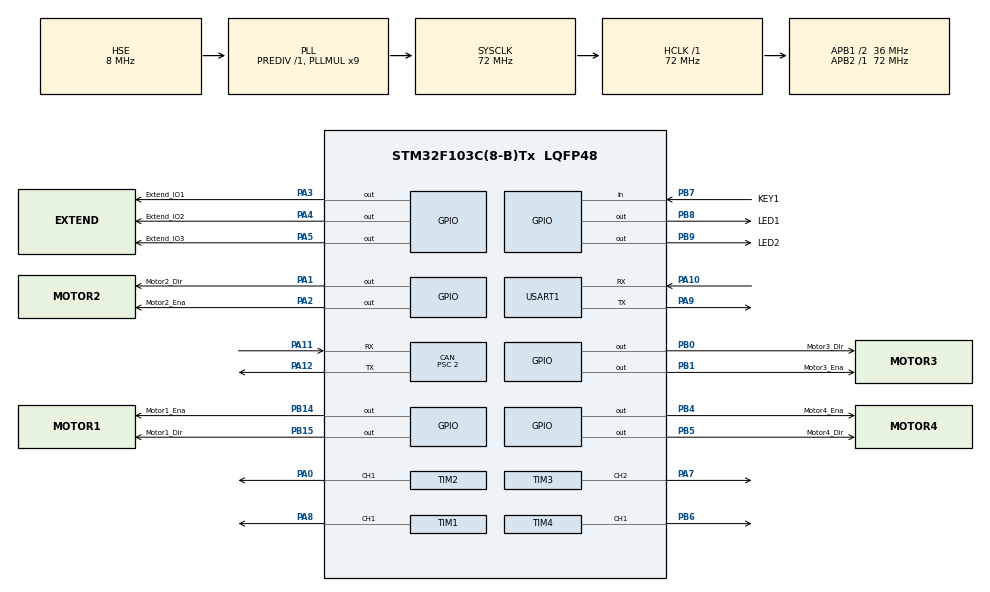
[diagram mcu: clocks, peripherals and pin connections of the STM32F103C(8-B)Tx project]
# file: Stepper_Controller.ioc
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CAN.BS1=CAN_BS1_14TQ
CAN.BS2=CAN_BS2_3TQ
CAN.CalculateBaudRate=1000000
CAN.CalculateTimeBit=1000
CAN.CalculateTimeQuantum=55.55555555555556
CAN.Mode=CAN_MODE_SILENT_LOOPBACK
CAN.Prescaler=2
Mcu.Family=STM32F1
Mcu.Name=STM32F103C(8-B)Tx
Mcu.Package=LQFP48
NVIC.CAN1_RX1_IRQn=true\:0\:0\:false\:false\:true\:true\:true\:true
NVIC.PriorityGroup=NVIC_PRIORITYGROUP_4
NVIC.TIM1_CC_IRQn=true\:0\:0\:false\:false\:true\:true\:true\:true
NVIC.TIM1_UP_IRQn=true\:0\:0\:false\:false\:true\:true\:true\:true
NVIC.TIM2_IRQn=true\:0\:0\:false\:false\:true\:true\:true\:true
NVIC.TIM3_IRQn=true\:0\:0\:false\:false\:true\:true\:true\:true
NVIC.TIM4_IRQn=true\:0\:0\:false\:false\:true\:true\:true\:true
NVIC.USB_LP_CAN1_RX0_IRQn=true\:0\:0\:false\:false\:true\:true\:true\:true
PA0-WKUP.Signal=S_TIM2_CH1_ETR
PA1.GPIO_Label=Motor2_Dir
PA1.Signal=GPIO_Output
PA10.Mode=Asynchronous
PA10.Signal=USART1_RX
PA11.Mode=CAN_Activate
PA11.Signal=CAN_RX
PA12.Mode=CAN_Activate
PA12.Signal=CAN_TX
PA13.Mode=Serial_Wire
PA13.Signal=SYS_JTMS-SWDIO
PA14.Mode=Serial_Wire
PA14.Signal=SYS_JTCK-SWCLK
PA2.GPIO_Label=Motor2_Ena
PA2.Signal=GPIO_Output
PA3.GPIO_Label=Extend_IO1
PA3.Signal=GPIO_Output
PA4.GPIO_Label=Extend_IO2
PA4.Signal=GPIO_Output
PA5.GPIO_Label=Extend_IO3
PA5.Signal=GPIO_Output
PA7.Signal=S_TIM3_CH2
PA8.Signal=S_TIM1_CH1
PA9.Mode=Asynchronous
PA9.Signal=USART1_TX
PB0.GPIO_Label=Motor3_DIr
PB0.Signal=GPIO_Output
PB1.GPIO_Label=Motor3_Ena
PB1.Signal=GPIO_Output
PB14.GPIO_Label=Motor1_Ena
PB14.Signal=GPIO_Output
PB15.GPIO_Label=Motor1_Dir
PB15.Signal=GPIO_Output
PB4.GPIO_Label=Motor4_Ena
PB4.Signal=GPIO_Output
PB5.GPIO_Label=Motor4_Dir
PB5.Signal=GPIO_Output
PB6.Signal=S_TIM4_CH1
PB7.GPIO_Label=KEY1
PB7.Signal=GPIO_Input
PB8.GPIO_Label=LED1
PB8.Signal=GPIO_Output
PB9.GPIO_Label=LED2
PB9.Signal=GPIO_Output
PD0-OSC_IN.Mode=HSE-External-Oscillator
PD0-OSC_IN.Signal=RCC_OSC_IN
PD1-OSC_OUT.Mode=HSE-External-Oscillator
PD1-OSC_OUT.Signal=RCC_OSC_OUT
ProjectManager.HeapSize=0x200
ProjectManager.StackSize=0x400
ProjectManager.TargetToolchain=CMake
RCC.AHBFreq_Value=72000000
RCC.APB1CLKDivider=RCC_HCLK_DIV2
RCC.APB1Freq_Value=36000000
RCC.APB1TimFreq_Value=72000000
RCC.APB2Freq_Value=72000000
RCC.APB2TimFreq_Value=72000000
RCC.HCLKFreq_Value=72000000
RCC.PLLMUL=RCC_PLL_MUL9
RCC.PLLSourceVirtual=RCC_PLLSOURCE_HSE
RCC.SYSCLKFreq_VALUE=72000000
RCC.SYSCLKSource=RCC_SYSCLKSOURCE_PLLCLK
RCC.USBFreq_Value=72000000
SH.S_TIM1_CH1.0=TIM1_CH1,PWM Generation1 CH1
SH.S_TIM2_CH1_ETR.0=TIM2_CH1,PWM Generation1 CH1
SH.S_TIM3_CH2.0=TIM3_CH2,PWM Generation2 CH2
SH.S_TIM4_CH1.0=TIM4_CH1,PWM Generation1 CH1
TIM1.Channel-PWM\ Generation1\ CH1=TIM_CHANNEL_1
TIM1.Period=0
TIM1.Prescaler=72 - 1
TIM2.Channel-PWM\ Generation1\ CH1=TIM_CHANNEL_1
TIM2.Period=0
TIM2.Prescaler=72 -1
TIM3.Channel-PWM\ Generation2\ CH2=TIM_CHANNEL_2
TIM3.Period=0
TIM3.Prescaler=72-1
TIM4.Channel-PWM\ Generation1\ CH1=TIM_CHANNEL_1
TIM4.Period=0
TIM4.Prescaler=72 -1
USART1.VirtualMode=VM_ASYNC
VP_TIM1_VS_ClockSourceINT.Mode=Internal
VP_TIM2_VS_ClockSourceINT.Mode=Internal
VP_TIM3_VS_ClockSourceINT.Mode=Internal
VP_TIM4_VS_ClockSourceINT.Mode=Internal
board=custom

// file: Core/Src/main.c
/* USER CODE BEGIN Header */
/**
  ******************************************************************************
  * @file           : main.c
  * @brief          : Main program body
  ******************************************************************************
  * @attention
  *
  * Copyright (c) 2026 STMicroelectronics.
  * All rights reserved.
  *
  * This software is licensed under terms that can be found in the LICENSE file
  * in the root directory of this software component.
  * If no LICENSE file comes with this software, it is provided AS-IS.
  *
  ******************************************************************************
  */
/* USER CODE END Header */
#include "main.h"
#include "can.h"
#include "tim.h"
#include "usart.h"
#include "gpio.h"

/* USER CODE BEGIN Includes */
#include <string.h>
#include "bsp_init.h"
/* USER CODE END Includes */

/* USER CODE BEGIN PV */
/* 系统时间计数(ms) */
uint32_t system_tick_ms = 0;
/* 通信消息变量 */
//CanMessage_t test_message;

/* USER CODE END PV */

void SystemClock_Config(void);

int main(void)
{

  /* MCU Configuration--------------------------------------------------------*/

  /* Reset of all peripherals, Initializes the Flash interface and the Systick. */
  HAL_Init();

  /* Configure the system clock */
  SystemClock_Config();

  /* Initialize all configured peripherals */
  MX_GPIO_Init();
  MX_CAN_Init();
  MX_TIM1_Init();
  MX_TIM2_Init();
  MX_TIM3_Init();
  MX_TIM4_Init();
  MX_USART1_UART_Init();
  /* USER CODE BEGIN 2 */
  bsp_init();

  /* USER CODE END 2 */

  /* Infinite loop */
  while (1)
  {

    /* USER CODE BEGIN 3 */
    if (motor_set_current(0x200, 400))
    led_toggle(&gpio_led1.base);

    HAL_Delay(500);
  }
  /* USER CODE END 3 */
}

void SystemClock_Config(void)
{
  RCC_OscInitTypeDef RCC_OscInitStruct = {0};
  RCC_ClkInitTypeDef RCC_ClkInitStruct = {0};

  /** Initializes the RCC Oscillators according to the specified parameters
  * in the RCC_OscInitTypeDef structure.
  */
  RCC_OscInitStruct.OscillatorType = RCC_OSCILLATORTYPE_HSE;
  RCC_OscInitStruct.HSEState = RCC_HSE_ON;
  RCC_OscInitStruct.HSEPredivValue = RCC_HSE_PREDIV_DIV1;
  RCC_OscInitStruct.HSIState = RCC_HSI_ON;
  RCC_OscInitStruct.PLL.PLLState = RCC_PLL_ON;
  RCC_OscInitStruct.PLL.PLLSource = RCC_PLLSOURCE_HSE;
  RCC_OscInitStruct.PLL.PLLMUL = RCC_PLL_MUL9;
  if (HAL_RCC_OscConfig(&RCC_OscInitStruct) != HAL_OK)
  {
    Error_Handler();
  }

  /** Initializes the CPU, AHB and APB buses clocks
  */
  RCC_ClkInitStruct.ClockType = RCC_CLOCKTYPE_HCLK|RCC_CLOCKTYPE_SYSCLK
                              |RCC_CLOCKTYPE_PCLK1|RCC_CLOCKTYPE_PCLK2;
  RCC_ClkInitStruct.SYSCLKSource = RCC_SYSCLKSOURCE_PLLCLK;
  RCC_ClkInitStruct.AHBCLKDivider = RCC_SYSCLK_DIV1;
  RCC_ClkInitStruct.APB1CLKDivider = RCC_HCLK_DIV2;
  RCC_ClkInitStruct.APB2CLKDivider = RCC_HCLK_DIV1;

  if (HAL_RCC_ClockConfig(&RCC_ClkInitStruct, FLASH_LATENCY_2) != HAL_OK)
  {
    Error_Handler();
  }
}

/* USER CODE BEGIN 4 */
void HAL_TIM_PeriodElapsedCallback(TIM_HandleTypeDef *htim) {

  if (htim == &htim2) {

    one_period_done_callback(stepperMotor1);
  }
}

void HAL_CAN_RxFifo0MsgPendingCallback(CAN_HandleTypeDef* hcan)
{
  CAN_RxHeaderTypeDef rxHeader;
  uint8_t rxData[8];

  if (HAL_CAN_GetRxMessage(hcan, CAN_RX_FIFO0, &rxHeader, rxData) == HAL_OK)
  {
    if (rxHeader.StdId >= 0x200 && rxHeader.StdId <= 0x207)  // C610电调范围
    {
      led_toggle(&gpio_led2.base);  // 证明收到了
    }
  }
}

/* USER CODE END 4 */

void Error_Handler(void)
{
  /* USER CODE BEGIN Error_Handler_Debug */
  /* User can add his own implementation to report the HAL error return state */
  __disable_irq();
  while (1)
  {
    HAL_Delay(300);
    HAL_GPIO_TogglePin(LED1_GPIO_Port, LED1_Pin);
    HAL_GPIO_TogglePin(LED2_GPIO_Port, LED2_Pin);
  }
  /* USER CODE END Error_Handler_Debug */
}
